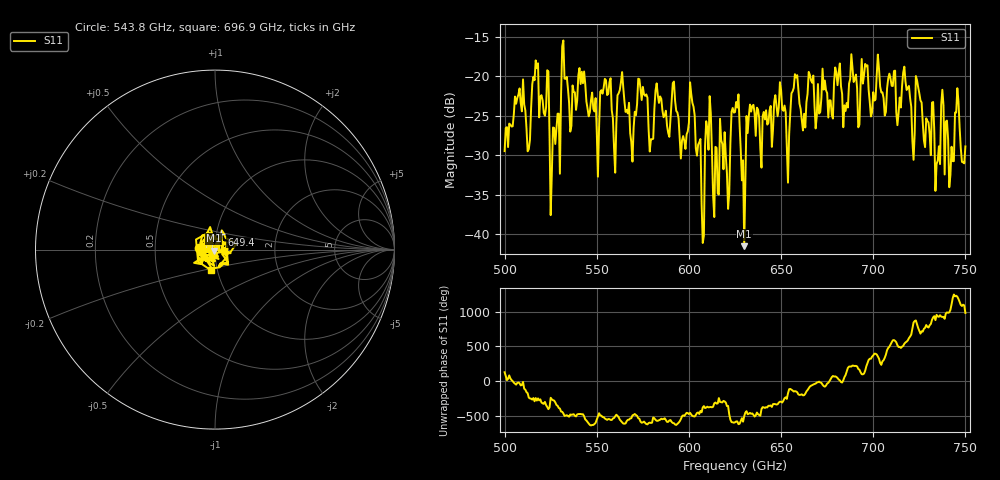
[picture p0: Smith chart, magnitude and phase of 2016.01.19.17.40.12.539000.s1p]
!Created with skrf (http://scikit-rf.org).
# GHz S RI R 50.0
!freq ReS11 ImS11
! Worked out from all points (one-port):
!   401 points, 500 GHz to 750 GHz, reference 50 ohm
!   lowest |S11| = -41.5 dB at 630 GHz (marker M1), VSWR 1.02, Z = 49.4 - j0.528 ohm
!   |S11| at or under -10 dB: start of sweep to end of sweep
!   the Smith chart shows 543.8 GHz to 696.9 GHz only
!   S11 on the Smith chart (normalised r, x): 543.8 GHz: 0.84, +0.02; 649.4 GHz: 1.06, +0.18; 696.9 GHz: 0.93, -0.22
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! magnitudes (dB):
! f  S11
! 500 GHz  -29.5
! 513.1 GHz  -29.2
! 516.9 GHz  -18.0
! 526.2 GHz  -26.5
! 531.2 GHz  -16.2
! 543.8 GHz  -21.0
! 559.4 GHz  -29.1
! 562.5 GHz  -21.7
! 569.4 GHz  -30.8
! 573.8 GHz  -21.6
! 579.4 GHz  -28.0
! 593.8 GHz  -24.6
! 601.9 GHz  -23.4
! 607.5 GHz  -41.1
! 610.6 GHz  -29.3
! 621.2 GHz  -36.8
! 625 GHz  -24.5
! 630 GHz  -41.5
! 633.8 GHz  -24.5
! 649.4 GHz  -20.7
! 653.8 GHz  -33.5
! 656.2 GHz  -21.9
! 687.5 GHz  -20.3
! 696.9 GHz  -18.6
! 718.8 GHz  -21.5
! 735 GHz  -30.7
! 745.6 GHz  -21.5
! 750 GHz  -28.9
